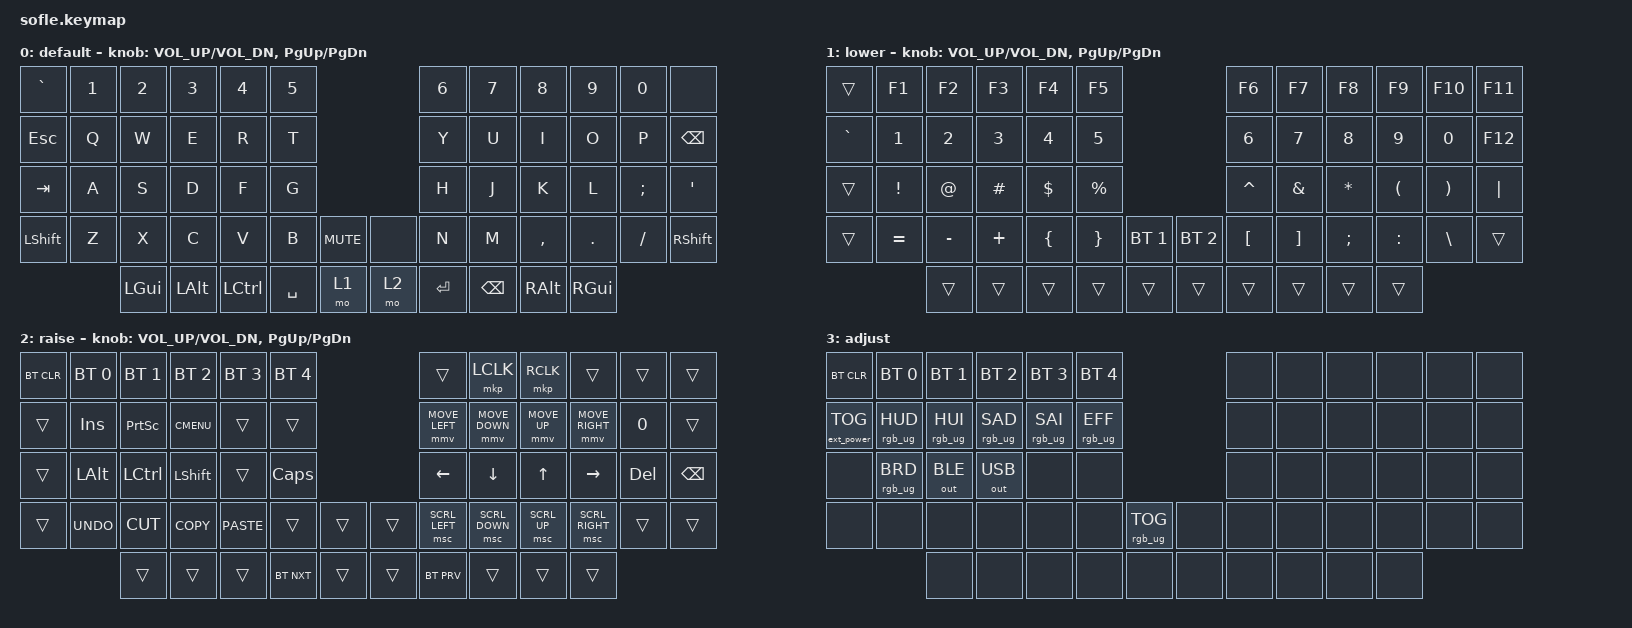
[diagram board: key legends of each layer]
/*
 * Copyright (c) 2020 The ZMK Contributors
 *
 * SPDX-License-Identifier: MIT
 */

#include <behaviors.dtsi>
#include <dt-bindings/zmk/bt.h>
#include <dt-bindings/zmk/ext_power.h>
#include <dt-bindings/zmk/keys.h>
#include <dt-bindings/zmk/outputs.h>
#include <dt-bindings/zmk/pointing.h>
#include <dt-bindings/zmk/rgb.h>

#define BASE 0
#define LOWER 1
#define RAISE 2
#define ADJUST 3

/ {
    // Activate ADJUST layer by pressing raise and lower

    conditional_layers {
        compatible = "zmk,conditional-layers";

        adjust_layer {
            if-layers = <LOWER RAISE>;
            then-layer = <ADJUST>;
        };
    };

    keymap {
        compatible = "zmk,keymap";

        default_layer {
            display-name = "default";

            // ------------------------------------------------------------------------------------------------------------
            // |   `   |  1  |  2  |  3   |  4   |  5   |                   |  6   |  7    |  8    |  9   |   0   |       |
            // |  ESC  |  Q  |  W  |  E   |  R   |  T   |                   |  Y   |  U    |  I    |  O   |   P   | BKSPC |
            // |  TAB  |  A  |  S  |  D   |  F   |  G   |                   |  H   |  J    |  K    |  L   |   ;   |   '   |
            // | SHIFT |  Z  |  X  |  C   |  V   |  B   |  MUTE  |  |       |  N   |  M    |  ,    |  .   |   /   | SHIFT |
            //               | GUI | ALT  | CTRL | LOWER|  ENTER |  | SPACE | RAISE| CTRL  | ALT   | GUI  |

            bindings = <
&kp GRAVE  &kp N1  &kp N2    &kp N3    &kp N4     &kp N5                          &kp N6   &kp N7         &kp N8     &kp N9    &kp N0    &none
&kp ESC    &kp Q   &kp W     &kp E     &kp R      &kp T                           &kp Y    &kp U          &kp I      &kp O     &kp P     &kp BSPC
&kp TAB    &kp A   &kp S     &kp D     &kp F      &kp G                           &kp H    &kp J          &kp K      &kp L     &kp SEMI  &kp SQT
&kp LSHFT  &kp Z   &kp X     &kp C     &kp V      &kp B      &kp C_MUTE    &none  &kp N    &kp M          &kp COMMA  &kp DOT   &kp FSLH  &kp RSHFT
                   &kp LGUI  &kp LALT  &kp LCTRL  &kp SPACE  &mo 1         &mo 2  &kp RET  &kp BACKSPACE  &kp RALT   &kp RGUI
            >;

            sensor-bindings = <&inc_dec_kp C_VOL_UP C_VOL_DN &inc_dec_kp PG_UP PG_DN>;
        };

        lower_layer {
            display-name = "lower";

            // TODO: Some binds are waiting for shifted keycode support.
            // ------------------------------------------------------------------------------------------------------------
            // |       |  F1 |  F2 |  F3  |  F4  |  F5  |                   |  F6  |  F7   |  F8   |  F9  |  F10  |  F11  |
            // |   `   |  1  |  2  |  3   |  4   |  5   |                   |  6   |  7    |  8    |  9   |   0   |  F12  |
            // |       |  !  |  @  |  #   |  $   |  %   |                   |  ^   |  &    |  *    |  (   |   )   |   |   |
            // |       |  =  |  -  |  +   |  {   |  }   |        |  |       |  [   |  ]    |  ;    |  :   |   \   |       |
            //               |     |      |      |      |        |  |       |      |       |       |      |

            bindings = <
&trans     &kp F1     &kp F2     &kp F3    &kp F4    &kp F5                                   &kp F6     &kp F7    &kp F8     &kp F9     &kp F10   &kp F11
&kp GRAVE  &kp N1     &kp N2     &kp N3    &kp N4    &kp N5                                   &kp N6     &kp N7    &kp N8     &kp N9     &kp N0    &kp F12
&trans     &kp EXCL   &kp AT     &kp HASH  &kp DLLR  &kp PRCNT                                &kp CARET  &kp AMPS  &kp ASTRK  &kp LPAR   &kp RPAR  &kp PIPE
&trans     &kp EQUAL  &kp MINUS  &kp PLUS  &kp LBRC  &kp RBRC   &bt BT_SEL 1    &bt BT_SEL 2  &kp LBKT   &kp RBKT  &kp SEMI   &kp COLON  &kp BSLH  &trans
                      &trans     &trans    &trans    &trans     &trans          &trans        &trans     &trans    &trans     &trans
            >;

            sensor-bindings = <&inc_dec_kp C_VOL_UP C_VOL_DN &inc_dec_kp PG_UP PG_DN>;
        };

        raise_layer {
            display-name = "raise";

            // ------------------------------------------------------------------------------------------------------------
            // | BTCLR | BT1  | BT2  |  BT3  |  BT4  |  BT5 |                |      |      |       |      |       |       |
            // |       | INS  | PSCR | GUI   |       |      |                | PGUP |      |   ^   |      |       |       |
            // |       | ALT  | CTRL | SHIFT |       | CAPS |                | PGDN |   <- |   v   |  ->  |  DEL  | BKSPC |
            // |       | UNDO | CUT  | COPY  | PASTE |      |      |  |      |      |      |       |      |       |       |
            //                |      |       |       |      |      |  |      |      |      |       |      |

            bindings = <
&bt BT_CLR  &bt BT_SEL 0  &bt BT_SEL 1  &bt BT_SEL 2  &bt BT_SEL 3  &bt BT_SEL 4                    &trans          &mkp LCLK       &mkp RCLK     &trans           &trans   &trans
&trans      &kp INS       &kp PSCRN     &kp K_CMENU   &trans        &trans                          &mmv MOVE_LEFT  &mmv MOVE_DOWN  &mmv MOVE_UP  &mmv MOVE_RIGHT  &kp N0   &trans
&trans      &kp LALT      &kp LCTRL     &kp LSHFT     &trans        &kp CLCK                        &kp LEFT_ARROW  &kp DOWN        &kp UP_ARROW  &kp RIGHT        &kp DEL  &kp BSPC
&trans      &kp K_UNDO    &kp K_CUT     &kp K_COPY    &kp K_PASTE   &trans        &trans    &trans  &msc SCRL_LEFT  &msc SCRL_DOWN  &msc SCRL_UP  &msc SCRL_RIGHT  &trans   &trans
                          &trans        &trans        &trans        &bt BT_NXT    &trans    &trans  &bt BT_PRV      &trans          &trans        &trans
            >;

            sensor-bindings = <&inc_dec_kp C_VOL_UP C_VOL_DN &inc_dec_kp PG_UP PG_DN>;
        };

        adjust_layer {
            // ----------------------------------------------------------------------------------------------------------------------------
            // | BTCLR  |  BT1    |  BT2    |   BT3   |   BT4   |   BT5   |                  |      |      |       |      |       |       |
            // | EXTPWR | RGB_HUD | RGB_HUI | RGB_SAD | RGB_SAI | RGB_EFF |                  |      |      |       |      |       |       |
            // |        | RGB_BRD | RGB_BRI |         |         |         |                  |      |      |       |      |       |       |
            // |        |         |         |         |         |         | RGB_TOG | |      |      |      |       |      |       |       |
            //                    |         |         |         |         |         | |      |      |      |       |      |

            display-name = "adjust";
            bindings = <
&bt BT_CLR         &bt BT_SEL 0     &bt BT_SEL 1     &bt BT_SEL 2     &bt BT_SEL 3     &bt BT_SEL 4                               &none  &none  &none  &none  &none  &none
&ext_power EP_TOG  &rgb_ug RGB_HUD  &rgb_ug RGB_HUI  &rgb_ug RGB_SAD  &rgb_ug RGB_SAI  &rgb_ug RGB_EFF                            &none  &none  &none  &none  &none  &none
&none              &rgb_ug RGB_BRD  &out OUT_BLE     &out OUT_USB     &none            &none                                      &none  &none  &none  &none  &none  &none
&none              &none            &none            &none            &none            &none            &rgb_ug RGB_TOG    &none  &none  &none  &none  &none  &none  &none
                                    &none            &none            &none            &none            &none              &none  &none  &none  &none  &none
            >;
        };
    };
};
